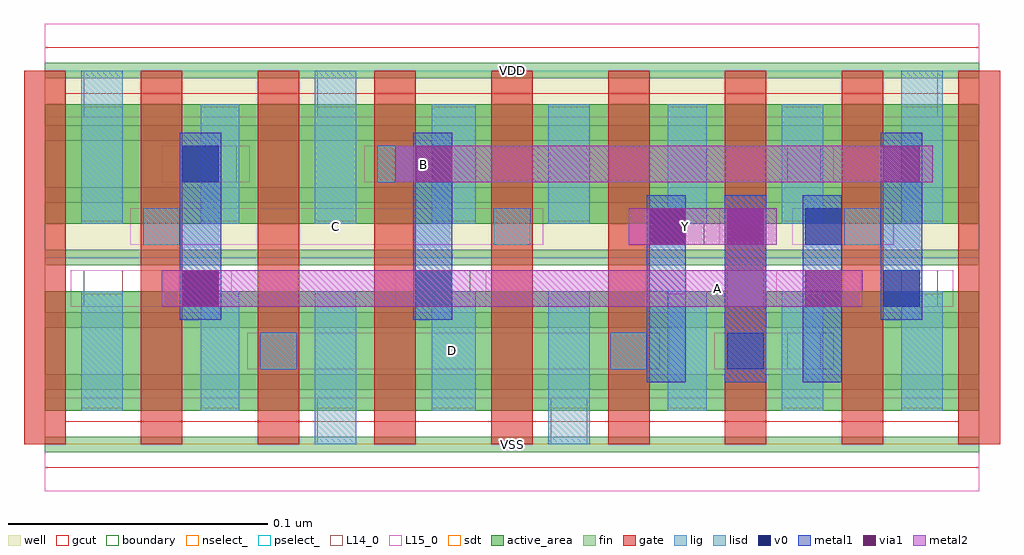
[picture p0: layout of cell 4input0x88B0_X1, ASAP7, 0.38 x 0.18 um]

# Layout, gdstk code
import gdstk
lib = gdstk.Library(unit=1e-6, precision=1e-09)
def R(c, l, rs):  # rectangles x0, y0, x1, y1
    for r in rs: c.add(gdstk.rectangle(r[:2], r[2:], *l))
def A(c, l, x, y, w, h, nx, ny, dx, dy):  # array of equal rectangles
    R(c, l, [(x+i*dx, y+j*dy, x+i*dx+w, y+j*dy+h) for i in range(nx) for j in range(ny)])
def P(c, l, *ps):  # polygons
    for p in ps: c.add(gdstk.Polygon(p, *l))
well = (1, 0)
fin = (2, 0)
gate = (7, 0)
gcut = (10, 0)
active_area = (11, 0)
nselect_ = (12, 0)
pselect_ = (13, 0)
L14_0 = (14, 0)
L15_0 = (15, 0)
lig = (16, 0)
lisd = (17, 0)
v0 = (18, 0)
metal1 = (19, 0)
metal2 = (20, 0)
via1 = (21, 0)
sdt = (88, 0)
boundary = (100, 0)

c_4input0x88b0_x1 = lib.new_cell('4input0x88B0_X1')
R(c_4input0x88b0_x1, well, [(0,0.072,0.36,0.144)])
A(c_4input0x88b0_x1, fin, 0, -0.003, 0.36, 0.006, 1, 7, 0, 0.024)
A(c_4input0x88b0_x1, gate, -0.008, 0, 0.016, 0.144, 9, 1, 0.045, 0)
P(c_4input0x88b0_x1, gcut, [(0,-0.009),(0,0),(-0.008,0),(-0.008,0.135),(0.008,0.135),(0.008,0.009),(0.352,0.009),(0.352,0.135),(-0.008,0.135),(-0.008,0.144),(0,0.144),(0,0.153),(0.36,0.153),(0.36,0.144),(0.368,0.144),(0.368,0),(0.36,0),(0.36,-0.009)])
R(c_4input0x88b0_x1, active_area, [(0,0.013,0.36,0.059), (0,0.085,0.36,0.131)])
R(c_4input0x88b0_x1, nselect_, [(0,0,0.36,0.072)])
R(c_4input0x88b0_x1, pselect_, [(0,0.072,0.36,0.144)])
R(c_4input0x88b0_x1, L14_0, [(0.105,0,0.12,0.018), (0.195,0,0.209,0.018), (0.083,0.029,0.097,0.043), (0.218,0.029,0.232,0.043), (0.286,0.029,0.299,0.043), (0.015,0.053,0.03,0.067), (0.15,0.053,0.164,0.067), (0.263,0.053,0.277,0.067), (0.33,0.053,0.344,0.067), (0.038,0.077,0.052,0.091), (0.173,0.077,0.187,0.091), (0.24,0.077,0.254,0.091), (0.308,0.077,0.322,0.091), (0.06,0.101,0.074,0.115), (0.128,0.101,0.142,0.115), (0.195,0.101,0.209,0.115), (0.286,0.101,0.299,0.115), (0.015,0.126,0.03,0.144), (0.105,0.126,0.12,0.144), (0.33,0.126,0.344,0.144)])
R(c_4input0x88b0_x1, L15_0, [(0,-0.018,0.36,0.018), (0.078,0.029,0.237,0.043), (0.258,0.029,0.304,0.043), (0.01,0.053,0.072,0.067), (0.135,0.053,0.17,0.067), (0.247,0.053,0.282,0.067), (0.315,0.053,0.35,0.067), (0.033,0.077,0.192,0.091), (0.225,0.077,0.26,0.091), (0.288,0.077,0.327,0.091), (0.045,0.101,0.079,0.115), (0.123,0.101,0.157,0.115), (0.19,0.101,0.304,0.115), (0,0.126,0.36,0.162)])
A(c_4input0x88b0_x1, lig, 0.038, 0.077, 0.014, 0.014, 3, 1, 0.135, 0)
R(c_4input0x88b0_x1, lig, [(0.083,0.029,0.097,0.043), (0.218,0.029,0.232,0.043), (0.263,0.053,0.277,0.067), (0.128,0.101,0.142,0.115)])
R(c_4input0x88b0_x1, lisd, [(0.104,0,0.12,0.059), (0.194,0,0.21,0.059), (0.014,0.013,0.03,0.059), (0.06,0.013,0.075,0.059), (0.149,0.013,0.166,0.059), (0.24,0.013,0.255,0.059), (0.284,0.013,0.3,0.059), (0.33,0.013,0.346,0.059), (0.014,0.085,0.03,0.144), (0.06,0.085,0.075,0.131), (0.104,0.085,0.12,0.144), (0.149,0.085,0.166,0.131), (0.194,0.085,0.21,0.131), (0.24,0.085,0.255,0.131), (0.284,0.085,0.3,0.131), (0.33,0.085,0.346,0.144)])
R(c_4input0x88b0_x1, v0, [(0.263,0.029,0.277,0.043), (0.053,0.053,0.067,0.067), (0.143,0.053,0.157,0.067), (0.323,0.053,0.337,0.067), (0.233,0.077,0.247,0.091), (0.293,0.077,0.307,0.091), (0.053,0.101,0.067,0.115)])
R(c_4input0x88b0_x1, metal1, [(0.232,0.024,0.247,0.096), (0.262,0.024,0.278,0.096), (0.292,0.024,0.307,0.096), (0.052,0.048,0.068,0.12), (0.142,0.048,0.157,0.12), (0.322,0.048,0.338,0.12)])
R(c_4input0x88b0_x1, metal2, [(0.045,0.053,0.315,0.067), (0.225,0.077,0.282,0.091), (0.135,0.101,0.342,0.115)])
R(c_4input0x88b0_x1, via1, [(0.053,0.053,0.067,0.067), (0.293,0.053,0.307,0.067), (0.233,0.077,0.247,0.091), (0.263,0.077,0.277,0.091), (0.143,0.101,0.157,0.115), (0.323,0.101,0.337,0.115)])
A(c_4input0x88b0_x1, sdt, 0.014, 0.014, 0.016, 0.044, 4, 2, 0.09, 0.072)
R(c_4input0x88b0_x1, sdt, [(0.06,0.014,0.075,0.058), (0.149,0.014,0.166,0.058), (0.24,0.014,0.255,0.058), (0.33,0.014,0.346,0.058), (0.06,0.086,0.075,0.13), (0.149,0.086,0.166,0.13), (0.24,0.086,0.255,0.13), (0.33,0.086,0.346,0.13)])
R(c_4input0x88b0_x1, boundary, [(0,0,0.36,0.144)])
c_4input0x88b0_x1.add(gdstk.Label('B', (0.146,0.108), layer=15, texttype=251))
c_4input0x88b0_x1.add(gdstk.Label('VSS', (0.18,0), layer=15, texttype=251))
c_4input0x88b0_x1.add(gdstk.Label('VDD', (0.18,0.144), layer=15, texttype=251))
c_4input0x88b0_x1.add(gdstk.Label('A', (0.259,0.06), layer=15, texttype=251))
c_4input0x88b0_x1.add(gdstk.Label('VSS', (0.18,0), layer=15, texttype=251))
c_4input0x88b0_x1.add(gdstk.Label('VDD', (0.18,0.144), layer=15, texttype=251))
c_4input0x88b0_x1.add(gdstk.Label('D', (0.157,0.036), layer=15, texttype=251))
c_4input0x88b0_x1.add(gdstk.Label('VSS', (0.18,0), layer=15, texttype=251))
c_4input0x88b0_x1.add(gdstk.Label('VDD', (0.18,0.144), layer=15, texttype=251))
c_4input0x88b0_x1.add(gdstk.Label('VSS', (0.18,0), layer=15, texttype=251))
c_4input0x88b0_x1.add(gdstk.Label('VDD', (0.18,0.144), layer=15, texttype=251))
c_4input0x88b0_x1.add(gdstk.Label('C', (0.112,0.084), layer=15, texttype=251))
c_4input0x88b0_x1.add(gdstk.Label('VSS', (0.18,0), layer=15, texttype=251))
c_4input0x88b0_x1.add(gdstk.Label('VDD', (0.18,0.144), layer=15, texttype=251))
c_4input0x88b0_x1.add(gdstk.Label('VSS', (0.18,0), layer=3, texttype=251))
c_4input0x88b0_x1.add(gdstk.Label('VSS', (0.18,0), layer=3, texttype=251))
c_4input0x88b0_x1.add(gdstk.Label('VSS', (0.18,0), layer=3, texttype=251))
c_4input0x88b0_x1.add(gdstk.Label('VSS', (0.18,0), layer=3, texttype=251))
c_4input0x88b0_x1.add(gdstk.Label('VSS', (0.18,0), layer=3, texttype=251))
c_4input0x88b0_x1.add(gdstk.Label('VDD', (0.18,0.144), layer=1, texttype=251))
c_4input0x88b0_x1.add(gdstk.Label('VDD', (0.18,0.144), layer=1, texttype=251))
c_4input0x88b0_x1.add(gdstk.Label('VDD', (0.18,0.144), layer=1, texttype=251))
c_4input0x88b0_x1.add(gdstk.Label('VDD', (0.18,0.144), layer=1, texttype=251))
c_4input0x88b0_x1.add(gdstk.Label('VDD', (0.18,0.144), layer=1, texttype=251))
c_4input0x88b0_x1.add(gdstk.Label('Y', (0.247,0.084), layer=20, texttype=251))

lib.write_gds('4input0x88B0_X1.gds')
